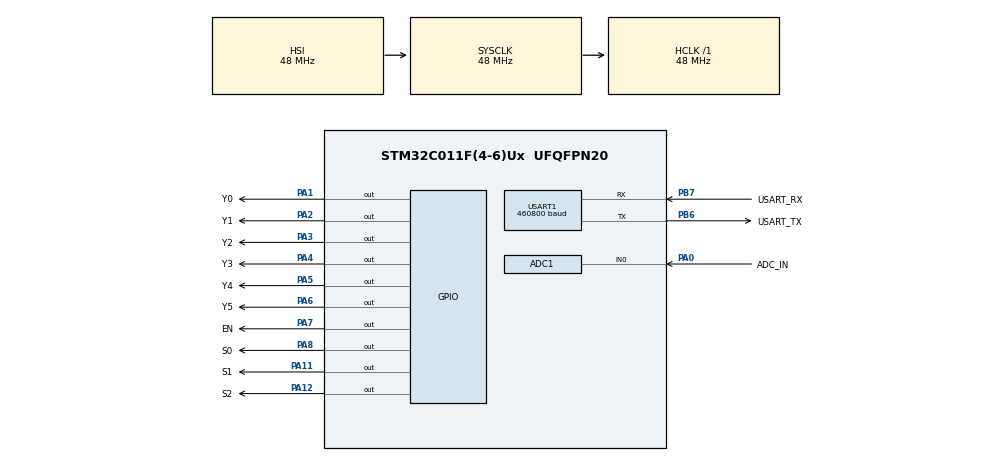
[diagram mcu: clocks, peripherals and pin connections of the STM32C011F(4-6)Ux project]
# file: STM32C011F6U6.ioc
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ADC1.NbrOfConversionFlag=0
ADC1.SamplingTimeCommon1=ADC_SAMPLETIME_79CYCLES_5
ADC1.SelectedChannel=ADC_CHANNEL_0
ADC1.master=1
Dma.Request0=USART1_TX
Dma.Request1=USART1_RX
Dma.USART1_RX.1.Direction=DMA_PERIPH_TO_MEMORY
Dma.USART1_RX.1.EventEnable=DISABLE
Dma.USART1_RX.1.Instance=DMA1_Channel2
Dma.USART1_RX.1.MemDataAlignment=DMA_MDATAALIGN_BYTE
Dma.USART1_RX.1.MemInc=DMA_MINC_ENABLE
Dma.USART1_RX.1.Mode=DMA_NORMAL
Dma.USART1_RX.1.PeriphDataAlignment=DMA_PDATAALIGN_BYTE
Dma.USART1_RX.1.PeriphInc=DMA_PINC_DISABLE
Dma.USART1_RX.1.Polarity=HAL_DMAMUX_REQ_GEN_RISING
Dma.USART1_RX.1.Priority=DMA_PRIORITY_HIGH
Dma.USART1_RX.1.RequestNumber=1
Dma.USART1_RX.1.SignalID=NONE
Dma.USART1_RX.1.SyncEnable=DISABLE
Dma.USART1_RX.1.SyncPolarity=HAL_DMAMUX_SYNC_NO_EVENT
Dma.USART1_RX.1.SyncRequestNumber=1
Dma.USART1_RX.1.SyncSignalID=NONE
Dma.USART1_TX.0.Direction=DMA_MEMORY_TO_PERIPH
Dma.USART1_TX.0.EventEnable=DISABLE
Dma.USART1_TX.0.Instance=DMA1_Channel1
Dma.USART1_TX.0.MemDataAlignment=DMA_MDATAALIGN_BYTE
Dma.USART1_TX.0.MemInc=DMA_MINC_ENABLE
Dma.USART1_TX.0.Mode=DMA_NORMAL
Dma.USART1_TX.0.PeriphDataAlignment=DMA_PDATAALIGN_BYTE
Dma.USART1_TX.0.PeriphInc=DMA_PINC_DISABLE
Dma.USART1_TX.0.Polarity=HAL_DMAMUX_REQ_GEN_RISING
Dma.USART1_TX.0.Priority=DMA_PRIORITY_HIGH
Dma.USART1_TX.0.RequestNumber=1
Dma.USART1_TX.0.SignalID=NONE
Dma.USART1_TX.0.SyncEnable=DISABLE
Dma.USART1_TX.0.SyncPolarity=HAL_DMAMUX_SYNC_NO_EVENT
Dma.USART1_TX.0.SyncRequestNumber=1
Dma.USART1_TX.0.SyncSignalID=NONE
Mcu.Family=STM32C0
Mcu.Name=STM32C011F(4-6)Ux
Mcu.Package=UFQFPN20
NVIC.DMA1_Channel1_IRQn=true\:0\:0\:false\:false\:true\:false\:true\:true
NVIC.DMA1_Channel2_3_IRQn=true\:0\:0\:false\:false\:true\:false\:true\:true
NVIC.TIM1_BRK_UP_TRG_COM_IRQn=true\:0\:0\:false\:false\:true\:true\:true\:true
NVIC.USART1_IRQn=true\:0\:0\:false\:false\:true\:true\:true\:true
PA0.GPIO_Label=ADC_IN
PA0.Mode=IN0
PA0.Signal=ADC1_IN0
PA1.GPIO_Label=Y0
PA1.Signal=GPIO_Output
PA11\ [PA9].GPIO_Label=S1
PA11\ [PA9].GPIO_PuPd=GPIO_PULLDOWN
PA11\ [PA9].GPIO_Speed=GPIO_SPEED_FREQ_HIGH
PA11\ [PA9].Signal=GPIO_Output
PA12\ [PA10].GPIO_Label=S2
PA12\ [PA10].GPIO_PuPd=GPIO_PULLDOWN
PA12\ [PA10].GPIO_Speed=GPIO_SPEED_FREQ_HIGH
PA12\ [PA10].Signal=GPIO_Output
PA13.Mode=Serial_Wire
PA13.Signal=DEBUG_SWDIO
PA14-BOOT0.Mode=Serial_Wire
PA14-BOOT0.Signal=DEBUG_SWCLK
PA2.GPIO_Label=Y1
PA2.Signal=GPIO_Output
PA3.GPIO_Label=Y2
PA3.Signal=GPIO_Output
PA4.GPIO_Label=Y3
PA4.Signal=GPIO_Output
PA5.GPIO_Label=Y4
PA5.Signal=GPIO_Output
PA6.GPIO_Label=Y5
PA6.Signal=GPIO_Output
PA7.GPIO_Label=EN
PA7.GPIO_PuPd=GPIO_PULLUP
PA7.GPIO_Speed=GPIO_SPEED_FREQ_HIGH
PA7.Signal=GPIO_Output
PA8.GPIO_Label=S0
PA8.GPIO_PuPd=GPIO_PULLDOWN
PA8.GPIO_Speed=GPIO_SPEED_FREQ_HIGH
PA8.Signal=GPIO_Output
PB6.GPIO_Label=USART_TX
PB6.Mode=Asynchronous
PB6.Signal=USART1_TX
PB7.GPIO_Label=USART_RX
PB7.Mode=Asynchronous
PB7.Signal=USART1_RX
PC14-OSCX_IN\ (PC14).Mode=HSE-External-Oscillator-REMAPPED
PC14-OSCX_IN\ (PC14).Signal=RCC_OSCX_IN
PC15-OSCX_OUT\ (PC15).Mode=HSE-External-Oscillator-REMAPPED
PC15-OSCX_OUT\ (PC15).Signal=RCC_OSCX_OUT
ProjectManager.HeapSize=0x200
ProjectManager.StackSize=0x400
ProjectManager.TargetToolchain=MDK-ARM V5.39
RCC.ADCFreq_Value=48000000
RCC.AHBFreq_Value=48000000
RCC.CortexFreq_Value=48000000
RCC.EXTERNAL_CLOCK_VALUE=12288000
RCC.HCLKFreq_Value=48000000
RCC.HSE_VALUE=8000000
RCC.HSISYSCLKDivider=RCC_HSI_DIV1
RCC.HSI_VALUE=48000000
RCC.LSE_VALUE=32768
RCC.SYSCLKFreq_VALUE=48000000
RCC.USART1CLockSelection=RCC_USART1CLKSOURCE_SYSCLK
TIM1.Period=499
TIM1.Prescaler=4799
USART1.BaudRate=460800
USART1.VirtualMode-Asynchronous=VM_ASYNC
VP_TIM1_VS_ClockSourceINT.Mode=Internal
board=custom

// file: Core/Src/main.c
/* USER CODE BEGIN Header */
/**
  ******************************************************************************
  * @file           : main.c
  * @brief          : Main program body
  ******************************************************************************
  * @attention
  *
  * Copyright (c) 2026 STMicroelectronics.
  * All rights reserved.
  *
  * This software is licensed under terms that can be found in the LICENSE file
  * in the root directory of this software component.
  * If no LICENSE file comes with this software, it is provided AS-IS.
  *
  ******************************************************************************
  */
/* USER CODE END Header */
#include "main.h"
#include "adc.h"
#include "dma.h"
#include "tim.h"
#include "usart.h"
#include "gpio.h"

/* USER CODE BEGIN Includes */
#include "tactile_sense.h"
#include "com.h"
/* USER CODE END Includes */

/* USER CODE BEGIN PV */
static uint16_t tactile_adc_data[TACTILE_POINT_NUM];
static uint16_t force_data[TACTILE_POINT_NUM];

/* TIM1中断置1，主循环读取并清零。*/
static volatile uint8_t tactile_scan_pending = 0U;

/* 用于记录上一次采样请求尚未处理时，
 * 又出现了新的定时器中断。*/
static volatile uint32_t tactile_scan_overrun_count = 0U;

static uint8_t TactileScan_TakeRequest(void);
/* USER CODE END PV */

void SystemClock_Config(void);

int main(void)
{

  /* MCU Configuration--------------------------------------------------------*/

  /* Reset of all peripherals, Initializes the Flash interface and the Systick. */
  HAL_Init();

  /* Configure the system clock */
  SystemClock_Config();

  /* Initialize all configured peripherals */
  MX_GPIO_Init();
  MX_DMA_Init();
  MX_ADC1_Init();
  MX_USART1_UART_Init();
  MX_TIM1_Init();
  /* USER CODE BEGIN 2 */
  if (TactileSense_Init(&hadc1) != HAL_OK)
        Error_Handler();

  if (TactileSense_Scan(tactile_adc_data) != HAL_OK)
        Error_Handler();
  RawDataToForce(tactile_adc_data, force_data);

  if (COM_Init(&huart1, SENSOR_BOARD_ID, force_data) != HAL_OK)
        Error_Handler();

  if (HAL_TIM_Base_Start_IT(&htim1) != HAL_OK)
      Error_Handler();

  /* USER CODE END 2 */

  /* Infinite loop */
  /* USER CODE BEGIN WHILE */
  while (1)
  {
      COM_Process();

      /* 20 FPS，TIM1每50ms产生一次采样请求*/
      if (TactileScan_TakeRequest() != 0U) {
        if (TactileSense_Scan(tactile_adc_data) != HAL_OK)
            Error_Handler();
        RawDataToForce(tactile_adc_data, force_data);
        /* Publish only complete scans; the UART ISR replies from this snapshot. */
        COM_UpdateTactileData(force_data);
      }

    /* USER CODE END WHILE */

  }
}

void SystemClock_Config(void)
{
  RCC_OscInitTypeDef RCC_OscInitStruct = {0};
  RCC_ClkInitTypeDef RCC_ClkInitStruct = {0};

  __HAL_FLASH_SET_LATENCY(FLASH_LATENCY_1);

  /** Initializes the RCC Oscillators according to the specified parameters
  * in the RCC_OscInitTypeDef structure.
  */
  RCC_OscInitStruct.OscillatorType = RCC_OSCILLATORTYPE_HSI;
  RCC_OscInitStruct.HSIState = RCC_HSI_ON;
  RCC_OscInitStruct.HSIDiv = RCC_HSI_DIV1;
  RCC_OscInitStruct.HSICalibrationValue = RCC_HSICALIBRATION_DEFAULT;
  if (HAL_RCC_OscConfig(&RCC_OscInitStruct) != HAL_OK)
  {
    Error_Handler();
  }

  /** Initializes the CPU, AHB and APB buses clocks
  */
  RCC_ClkInitStruct.ClockType = RCC_CLOCKTYPE_HCLK|RCC_CLOCKTYPE_SYSCLK
                              |RCC_CLOCKTYPE_PCLK1;
  RCC_ClkInitStruct.SYSCLKSource = RCC_SYSCLKSOURCE_HSI;
  RCC_ClkInitStruct.SYSCLKDivider = RCC_SYSCLK_DIV1;
  RCC_ClkInitStruct.AHBCLKDivider = RCC_HCLK_DIV1;
  RCC_ClkInitStruct.APB1CLKDivider = RCC_APB1_DIV1;

  if (HAL_RCC_ClockConfig(&RCC_ClkInitStruct, FLASH_LATENCY_1) != HAL_OK)
  {
    Error_Handler();
  }
}

/* USER CODE BEGIN 4 */
void HAL_UARTEx_RxEventCallback(UART_HandleTypeDef *huart, uint16_t size)
{
  COM_UART_RxEventCallback(huart, size);
}

void HAL_UART_ErrorCallback(UART_HandleTypeDef *huart)
{
    COM_UART_ErrorCallback(huart);
}

void HAL_UART_TxCpltCallback(UART_HandleTypeDef *huart)
{
  COM_UART_TxCpltCallback(huart);
}

/**
 * @brief 原子地获取并清除触觉采样请求
 *
 * @return 1：存在采样请求
 *         0：当前没有采样请求
 */
static uint8_t TactileScan_TakeRequest(void)
{
    uint8_t pending;

    /* 防止以下时序：
     *
     * 主循环读取pending
     *     ↓
     * TIM1中断将pending置1
     *     ↓
     * 主循环将pending清0
     *
     * 这种情况会丢失一次定时事件。*/
    __disable_irq();

    pending = tactile_scan_pending;
    tactile_scan_pending = 0U;

    __enable_irq();

    return pending;
}

void HAL_TIM_PeriodElapsedCallback(TIM_HandleTypeDef *htim)
{
    if (htim->Instance == TIM1)
    {
        /* 若上一次采样请求还没有被主循环处理，
         * 说明主循环没有在50ms内完成相关任务。*/
        if (tactile_scan_pending != 0U)
            tactile_scan_overrun_count++;

        /* 中断中只设置标志，不执行完整ADC扫描。*/
        tactile_scan_pending = 1U;
    }
}
/* USER CODE END 4 */

void Error_Handler(void)
{
  __disable_irq();
  while (1)
  {
  }
}
